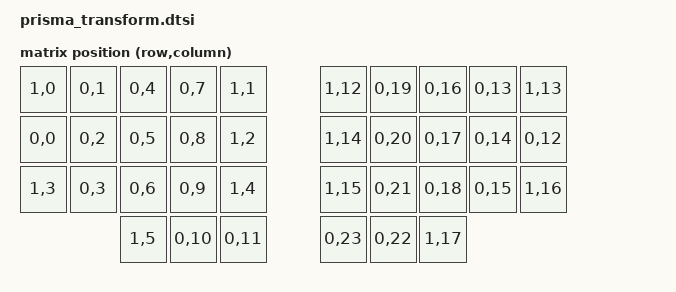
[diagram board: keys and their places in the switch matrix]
/*
 * Copyright (c) 2026 Rafael Romão
 * SPDX-License-Identifier: MIT
 *
 * The Slim Diamond reads each key on its own pin. A half's direct kscan
 * reports key i as RC(0,i), in the PCB's key order:
 *
 *   0 pinky   1 ring top    2 ring home    3 ring bottom
 *             4 middle top  5 middle home  6 middle bottom
 *             7 index top   8 index home   9 index bottom
 *            10 thumb outer 11 thumb inner
 *
 * The right half adds 12 (col-offset). The shared keymap has 36 positions;
 * the 12 the Diamond doesn't have point at row 1, which nothing reports.
 */

#include <dt-bindings/zmk/matrix_transform.h>

/ {
    default_transform: keymap_transform_0 {
        compatible = "zmk,matrix-transform";
        columns = <24>;
        rows = <2>;
        map = <
        RC(1,0)  RC(0,1)  RC(0,4)  RC(0,7)  RC(1,1)    RC(1,12) RC(0,19) RC(0,16) RC(0,13) RC(1,13)
        RC(0,0)  RC(0,2)  RC(0,5)  RC(0,8)  RC(1,2)    RC(1,14) RC(0,20) RC(0,17) RC(0,14) RC(0,12)
        RC(1,3)  RC(0,3)  RC(0,6)  RC(0,9)  RC(1,4)    RC(1,15) RC(0,21) RC(0,18) RC(0,15) RC(1,16)
                          RC(1,5)  RC(0,10) RC(0,11)   RC(0,23) RC(0,22) RC(1,17)
        >;
    };
};
